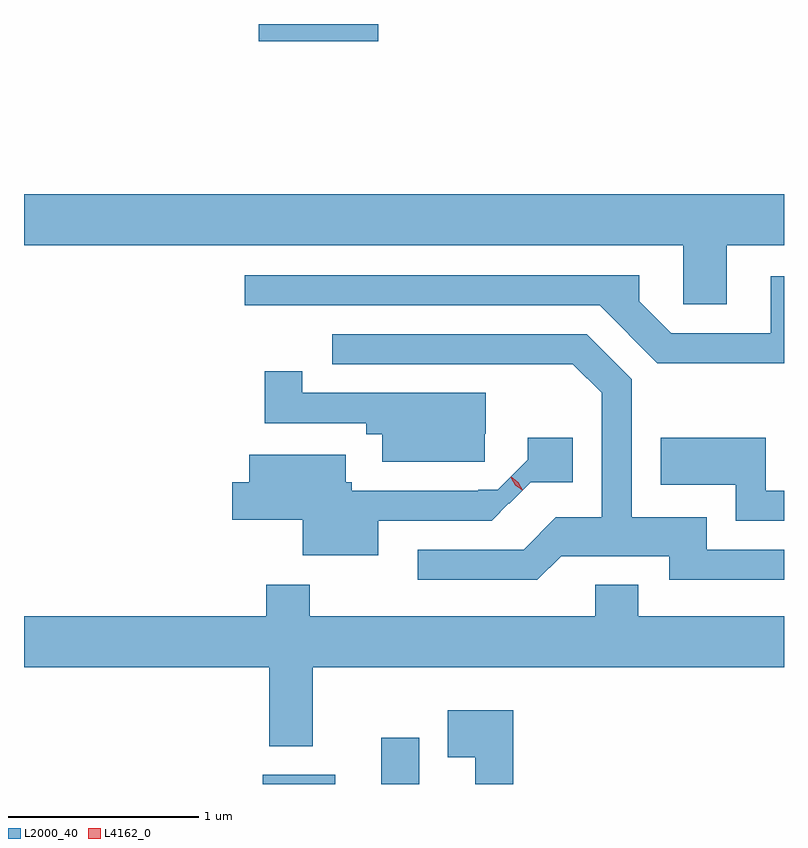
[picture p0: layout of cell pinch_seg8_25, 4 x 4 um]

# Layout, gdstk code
import gdstk
lib = gdstk.Library(unit=1e-6, precision=1e-09)
def R(c, l, rs):  # rectangles x0, y0, x1, y1
    for r in rs: c.add(gdstk.rectangle(r[:2], r[2:], *l))
def P(c, l, *ps):  # polygons
    for p in ps: c.add(gdstk.Polygon(p, *l))
L2000_40 = (2000, 40)
L4162_0 = (4162, 0)

pinch_seg8_25 = lib.new_cell('pinch_seg8_25')
R(pinch_seg8_25, L2000_40, [(1719.336,1911.281,1719.719,1911.329), (1719.961,1911.281,1720.159,1911.524), (1719.316,1915.191,1719.944,1915.281)])
P(pinch_seg8_25, L2000_40, [(1721.779,1914.116),(1722.08,1914.116),(1722.08,1914.384),(1718.08,1914.384),(1718.08,1914.116),(1721.551,1914.116),(1721.551,1913.806),(1721.779,1913.806)],
  [(1722.08,1913.954),(1722.011,1913.954),(1722.011,1913.654),(1721.487,1913.654),(1721.319,1913.822),(1721.319,1913.959),(1719.243,1913.959),(1719.243,1913.801),(1721.109,1913.801),(1721.414,1913.496),(1722.08,1913.496)],
  [(1720.907,1912.481),(1721.476,1912.481),(1721.476,1912.356),(1722.08,1912.356),(1722.08,1912.514),(1721.674,1912.514),(1721.674,1912.684),(1721.279,1912.684),(1721.279,1913.412),(1721.042,1913.649),(1719.703,1913.649),(1719.703,1913.491),(1720.969,1913.491),(1721.121,1913.339),(1721.121,1912.684),(1720.879,1912.684),(1720.709,1912.514),(1720.153,1912.514),(1720.153,1912.356),(1720.782,1912.356)],
  [(1720.504,1913.125),(1720.509,1913.125),(1720.509,1913.339),(1719.544,1913.339),(1719.544,1913.454),(1719.346,1913.454),(1719.346,1913.181),(1719.881,1913.181),(1719.881,1913.121),(1719.966,1913.121),(1719.966,1912.976),(1720.504,1912.976)],
  [(1722.08,1912.824),(1721.984,1912.824),(1721.984,1913.104),(1721.431,1913.104),(1721.431,1912.856),(1721.826,1912.856),(1721.826,1912.666),(1722.08,1912.666)],
  [(1719.944,1912.666),(1720.541,1912.666),(1720.632,1912.758),(1720.634,1912.756),(1720.748,1912.87),(1720.969,1912.87),(1720.969,1913.104),(1720.731,1913.104),(1720.731,1912.987),(1720.573,1912.829),(1720.47,1912.829),(1720.47,1912.824),(1719.804,1912.824),(1719.804,1912.869),(1719.774,1912.869),(1719.774,1913.014),(1719.266,1913.014),(1719.266,1912.869),(1719.176,1912.869),(1719.176,1912.671),(1719.546,1912.671),(1719.546,1912.486),(1719.944,1912.486)],
  [(1719.599,1911.896),(1722.08,1911.896),(1722.08,1912.164),(1721.314,1912.164),(1721.314,1912.329),(1721.086,1912.329),(1721.086,1912.164),(1719.584,1912.164),(1719.584,1912.329),(1719.356,1912.329),(1719.356,1912.164),(1718.08,1912.164),(1718.08,1911.896),(1719.371,1911.896),(1719.371,1911.481),(1719.599,1911.481)],
  [(1720.654,1911.669),(1720.311,1911.669),(1720.311,1911.421),(1720.456,1911.421),(1720.456,1911.281),(1720.654,1911.281)])
P(pinch_seg8_25, L4162_0, [(1720.703,1912.827),(1720.666,1912.855),(1720.643,1912.896),(1720.643,1912.897),(1720.644,1912.897),(1720.681,1912.868),(1720.704,1912.827),(1720.704,1912.827)],
  [(1720.699,1912.831),(1720.665,1912.854),(1720.645,1912.89),(1720.645,1912.891),(1720.646,1912.891),(1720.68,1912.868),(1720.7,1912.832),(1720.7,1912.831)])

lib.write_gds('pinch_seg8_25.gds')
